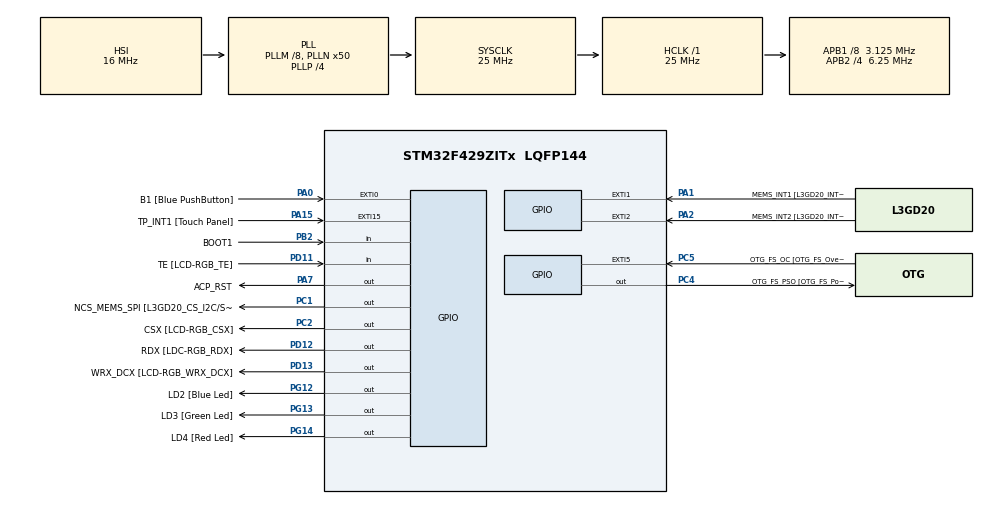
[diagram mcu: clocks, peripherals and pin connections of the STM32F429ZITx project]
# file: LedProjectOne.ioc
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Mcu.Family=STM32F4
Mcu.Name=STM32F429ZITx
Mcu.Package=LQFP144
NVIC.PriorityGroup=NVIC_PRIORITYGROUP_4
NVIC.TIM6_DAC_IRQn=true\:15\:0\:false\:false\:true\:false\:true\:true
NVIC.TimeBase=TIM6_DAC_IRQn
NVIC.TimeBaseIP=TIM6
PA0/WKUP.GPIO_Label=B1 [Blue PushButton]
PA0/WKUP.GPIO_ModeDefaultEXTI=GPIO_MODE_EVT_RISING
PA0/WKUP.GPIO_PuPd=GPIO_NOPULL
PA0/WKUP.Signal=GPXTI0
PA1.GPIO_Label=MEMS_INT1 [L3GD20_INT1]
PA1.GPIO_ModeDefaultEXTI=GPIO_MODE_EVT_RISING
PA1.GPIO_PuPd=GPIO_NOPULL
PA1.Signal=GPXTI1
PA10.GPIO_Label=STLINK_TX [STM32F103CBT6_PA2]
PA10.Signal=USART1_RX
PA11.GPIO_Label=R4
PA11.GPIO_Mode=GPIO_MODE_AF_PP
PA11.GPIO_PuPd=GPIO_NOPULL
PA11.GPIO_Speed=GPIO_SPEED_FREQ_LOW
PA11.Signal=LTDC_R4
PA12.GPIO_Label=R5
PA12.GPIO_Mode=GPIO_MODE_AF_PP
PA12.GPIO_PuPd=GPIO_NOPULL
PA12.GPIO_Speed=GPIO_SPEED_FREQ_LOW
PA12.Signal=LTDC_R5
PA13.GPIO_Label=SWDIO
PA13.Signal=SYS_JTMS-SWDIO
PA14.GPIO_Label=SWCLK
PA14.Signal=SYS_JTCK-SWCLK
PA15.GPIO_Label=TP_INT1 [Touch Panel]
PA15.GPIO_ModeDefaultEXTI=GPIO_MODE_EVT_RISING
PA15.GPIO_PuPd=GPIO_NOPULL
PA15.Signal=GPXTI15
PA2.GPIO_Label=MEMS_INT2 [L3GD20_INT2]
PA2.GPIO_ModeDefaultEXTI=GPIO_MODE_EVT_RISING
PA2.GPIO_PuPd=GPIO_NOPULL
PA2.Signal=GPXTI2
PA3.GPIO_Label=B5
PA3.GPIO_Mode=GPIO_MODE_AF_PP
PA3.GPIO_PuPd=GPIO_NOPULL
PA3.GPIO_Speed=GPIO_SPEED_FREQ_LOW
PA3.Signal=LTDC_B5
PA4.GPIO_Label=VSYNC
PA4.GPIO_Mode=GPIO_MODE_AF_PP
PA4.GPIO_PuPd=GPIO_NOPULL
PA4.GPIO_Speed=GPIO_SPEED_FREQ_LOW
PA4.Signal=LTDC_VSYNC
PA6.GPIO_Label=G2
PA6.GPIO_Mode=GPIO_MODE_AF_PP
PA6.GPIO_PuPd=GPIO_NOPULL
PA6.GPIO_Speed=GPIO_SPEED_FREQ_LOW
PA6.Signal=LTDC_G2
PA7.GPIO_Label=ACP_RST
PA7.GPIO_Mode=GPIO_MODE_OUTPUT_PP
PA7.GPIO_PuPd=GPIO_NOPULL
PA7.GPIO_Speed=GPIO_SPEED_FREQ_LOW
PA7.Signal=GPIO_Output
PA8.GPIO_Label=I2C3_SCL [ACP/RF_SCL]
PA8.GPIO_Mode=GPIO_MODE_AF_OD
PA8.GPIO_PuPd=GPIO_NOPULL
PA8.GPIO_Speed=GPIO_SPEED_FREQ_LOW
PA8.Signal=I2C3_SCL
PA9.GPIO_Label=STLINK_RX [STM32F103CBT6_PA3]
PA9.Signal=USART1_TX
PB0.GPIO_Label=R3
PB0.GPIO_Mode=GPIO_MODE_AF_PP
PB0.GPIO_PuPd=GPIO_NOPULL
PB0.GPIO_Speed=GPIO_SPEED_FREQ_LOW
PB0.Signal=LTDC_R3
PB1.GPIO_Label=R6
PB1.GPIO_Mode=GPIO_MODE_AF_PP
PB1.GPIO_PuPd=GPIO_NOPULL
PB1.GPIO_Speed=GPIO_SPEED_FREQ_LOW
PB1.Signal=LTDC_R6
PB10.GPIO_Label=G4
PB10.GPIO_Mode=GPIO_MODE_AF_PP
PB10.GPIO_PuPd=GPIO_NOPULL
PB10.GPIO_Speed=GPIO_SPEED_FREQ_LOW
PB10.Signal=LTDC_G4
PB11.GPIO_Label=G5
PB11.GPIO_Mode=GPIO_MODE_AF_PP
PB11.GPIO_PuPd=GPIO_NOPULL
PB11.GPIO_Speed=GPIO_SPEED_FREQ_LOW
PB11.Signal=LTDC_G5
PB12.GPIO_Label=OTG_HS_ID
PB12.GPIO_Mode=GPIO_MODE_AF_PP
PB12.GPIO_PuPd=GPIO_NOPULL
PB12.GPIO_Speed=GPIO_SPEED_FREQ_LOW
PB12.Signal=USB_OTG_HS_ID
PB13.GPIO_Label=VBUS_HS
PB13.GPIO_Mode=GPIO_MODE_INPUT
PB13.GPIO_PuPd=GPIO_NOPULL
PB13.Signal=USB_OTG_HS_VBUS
PB14.GPIO_Label=OTG_HS_DM
PB14.GPIO_Mode=GPIO_MODE_AF_PP
PB14.GPIO_PuPd=GPIO_NOPULL
PB14.GPIO_Speed=GPIO_SPEED_FREQ_LOW
PB14.Signal=USB_OTG_HS_DM
PB15.GPIO_Label=OTG_HS_DP
PB15.GPIO_Mode=GPIO_MODE_AF_PP
PB15.GPIO_PuPd=GPIO_NOPULL
PB15.GPIO_Speed=GPIO_SPEED_FREQ_LOW
PB15.Signal=USB_OTG_HS_DP
PB2/BOOT1.GPIO_Label=BOOT1
PB2/BOOT1.GPIO_Mode=GPIO_MODE_INPUT
PB2/BOOT1.GPIO_PuPd=GPIO_NOPULL
PB2/BOOT1.Signal=GPIO_Input
PB5.GPIO_Label=SDCKE1
PB5.GPIO_Mode=GPIO_MODE_AF_PP
PB5.GPIO_PuPd=GPIO_NOPULL
PB5.GPIO_Speed=GPIO_SPEED_FREQ_VERY_HIGH
PB5.Signal=FMC_SDCKE1
PB6.GPIO_Label=SDNE1 [SDRAM_CS]
PB6.GPIO_Mode=GPIO_MODE_AF_PP
PB6.GPIO_PuPd=GPIO_NOPULL
PB6.GPIO_Speed=GPIO_SPEED_FREQ_VERY_HIGH
PB6.Signal=FMC_SDNE1
PB8.GPIO_Label=B6
PB8.GPIO_Mode=GPIO_MODE_AF_PP
PB8.GPIO_PuPd=GPIO_NOPULL
PB8.GPIO_Speed=GPIO_SPEED_FREQ_LOW
PB8.Signal=LTDC_B6
PB9.GPIO_Label=B7
PB9.GPIO_Mode=GPIO_MODE_AF_PP
PB9.GPIO_PuPd=GPIO_NOPULL
PB9.GPIO_Speed=GPIO_SPEED_FREQ_LOW
PB9.Signal=LTDC_B7
PC0.GPIO_Label=SDNWE
PC0.GPIO_Mode=GPIO_MODE_AF_PP
PC0.GPIO_PuPd=GPIO_NOPULL
PC0.GPIO_Speed=GPIO_SPEED_FREQ_VERY_HIGH
PC0.Signal=FMC_SDNWE
PC1.GPIO_Label=NCS_MEMS_SPI [L3GD20_CS_I2C/SPI]
PC1.GPIO_Mode=GPIO_MODE_OUTPUT_PP
PC1.GPIO_PuPd=GPIO_NOPULL
PC1.GPIO_Speed=GPIO_SPEED_FREQ_LOW
PC1.Signal=GPIO_Output
PC10.GPIO_Label=R2
PC10.GPIO_Mode=GPIO_MODE_AF_PP
PC10.GPIO_PuPd=GPIO_NOPULL
PC10.GPIO_Speed=GPIO_SPEED_FREQ_LOW
PC10.Signal=LTDC_R2
PC14/OSC32_IN.GPIO_Label=PC14-OSC32_IN
PC14/OSC32_IN.Signal=RCC_OSC32_IN
PC15/OSC32_OUT.GPIO_Label=PC15-OSC32_OUT
PC15/OSC32_OUT.Signal=RCC_OSC32_OUT
PC2.GPIO_Label=CSX [LCD-RGB_CSX]
PC2.GPIO_Mode=GPIO_MODE_OUTPUT_PP
PC2.GPIO_PuPd=GPIO_NOPULL
PC2.GPIO_Speed=GPIO_SPEED_FREQ_LOW
PC2.Signal=GPIO_Output
PC4.GPIO_Label=OTG_FS_PSO [OTG_FS_PowerSwitchOn]
PC4.GPIO_Mode=GPIO_MODE_OUTPUT_PP
PC4.GPIO_PuPd=GPIO_NOPULL
PC4.GPIO_Speed=GPIO_SPEED_FREQ_LOW
PC4.Signal=GPIO_Output
PC5.GPIO_Label=OTG_FS_OC [OTG_FS_OverCurrent]
PC5.GPIO_ModeDefaultEXTI=GPIO_MODE_EVT_RISING
PC5.Signal=GPXTI5
PC6.GPIO_Label=HSYNC
PC6.GPIO_Mode=GPIO_MODE_AF_PP
PC6.GPIO_PuPd=GPIO_NOPULL
PC6.GPIO_Speed=GPIO_SPEED_FREQ_LOW
PC6.Signal=LTDC_HSYNC
PC7.GPIO_Label=G6
PC7.GPIO_Mode=GPIO_MODE_AF_PP
PC7.GPIO_PuPd=GPIO_NOPULL
PC7.GPIO_Speed=GPIO_SPEED_FREQ_LOW
PC7.Signal=LTDC_G6
PC9.GPIO_Label=I2C3_SDA [ACP/RF_SDA]
PC9.GPIO_Mode=GPIO_MODE_AF_OD
PC9.GPIO_PuPd=GPIO_NOPULL
PC9.GPIO_Speed=GPIO_SPEED_FREQ_LOW
PC9.Signal=I2C3_SDA
PD0.GPIO_Label=D2
PD0.GPIO_Mode=GPIO_MODE_AF_PP
PD0.GPIO_PuPd=GPIO_NOPULL
PD0.GPIO_Speed=GPIO_SPEED_FREQ_VERY_HIGH
PD0.Signal=FMC_D2_DA2
PD1.GPIO_Label=D3
PD1.GPIO_Mode=GPIO_MODE_AF_PP
PD1.GPIO_PuPd=GPIO_NOPULL
PD1.GPIO_Speed=GPIO_SPEED_FREQ_VERY_HIGH
PD1.Signal=FMC_D3_DA3
PD10.GPIO_Label=D15
PD10.GPIO_Mode=GPIO_MODE_AF_PP
PD10.GPIO_PuPd=GPIO_NOPULL
PD10.GPIO_Speed=GPIO_SPEED_FREQ_VERY_HIGH
PD10.Signal=FMC_D15_DA15
PD11.GPIO_Label=TE [LCD-RGB_TE]
PD11.GPIO_Mode=GPIO_MODE_INPUT
PD11.GPIO_PuPd=GPIO_NOPULL
PD11.Signal=GPIO_Input
PD12.GPIO_Label=RDX [LDC-RGB_RDX]
PD12.GPIO_Mode=GPIO_MODE_OUTPUT_PP
PD12.GPIO_PuPd=GPIO_NOPULL
PD12.GPIO_Speed=GPIO_SPEED_FREQ_LOW
PD12.Signal=GPIO_Output
PD13.GPIO_Label=WRX_DCX [LCD-RGB_WRX_DCX]
PD13.GPIO_Mode=GPIO_MODE_OUTPUT_PP
PD13.GPIO_PuPd=GPIO_NOPULL
PD13.GPIO_Speed=GPIO_SPEED_FREQ_LOW
PD13.Signal=GPIO_Output
PD14.GPIO_Label=D0
PD14.GPIO_Mode=GPIO_MODE_AF_PP
PD14.GPIO_PuPd=GPIO_NOPULL
PD14.GPIO_Speed=GPIO_SPEED_FREQ_VERY_HIGH
PD14.Signal=FMC_D0_DA0
PD15.GPIO_Label=D1
PD15.GPIO_Mode=GPIO_MODE_AF_PP
PD15.GPIO_PuPd=GPIO_NOPULL
PD15.GPIO_Speed=GPIO_SPEED_FREQ_VERY_HIGH
PD15.Signal=FMC_D1_DA1
PD3.GPIO_Label=G7
PD3.GPIO_Mode=GPIO_MODE_AF_PP
PD3.GPIO_PuPd=GPIO_NOPULL
PD3.GPIO_Speed=GPIO_SPEED_FREQ_LOW
PD3.Signal=LTDC_G7
PD6.GPIO_Label=B2
PD6.GPIO_Mode=GPIO_MODE_AF_PP
PD6.GPIO_PuPd=GPIO_NOPULL
PD6.GPIO_Speed=GPIO_SPEED_FREQ_LOW
PD6.Signal=LTDC_B2
PD8.GPIO_Label=D13
PD8.GPIO_Mode=GPIO_MODE_AF_PP
PD8.GPIO_PuPd=GPIO_NOPULL
PD8.GPIO_Speed=GPIO_SPEED_FREQ_VERY_HIGH
PD8.Signal=FMC_D13_DA13
PD9.GPIO_Label=D14
PD9.GPIO_Mode=GPIO_MODE_AF_PP
PD9.GPIO_PuPd=GPIO_NOPULL
PD9.GPIO_Speed=GPIO_SPEED_FREQ_VERY_HIGH
PD9.Signal=FMC_D14_DA14
PE0.GPIO_Label=NBL0 [SDRAM_LDQM]
PE0.GPIO_Mode=GPIO_MODE_AF_PP
PE0.GPIO_PuPd=GPIO_NOPULL
PE0.GPIO_Speed=GPIO_SPEED_FREQ_VERY_HIGH
PE0.Signal=FMC_NBL0
PE1.GPIO_Label=NBL1 [SDRAM_UDQM]
PE1.GPIO_Mode=GPIO_MODE_AF_PP
PE1.GPIO_PuPd=GPIO_NOPULL
PE1.GPIO_Speed=GPIO_SPEED_FREQ_VERY_HIGH
PE1.Signal=FMC_NBL1
PE10.GPIO_Label=D7
PE10.GPIO_Mode=GPIO_MODE_AF_PP
PE10.GPIO_PuPd=GPIO_NOPULL
PE10.GPIO_Speed=GPIO_SPEED_FREQ_VERY_HIGH
PE10.Signal=FMC_D7_DA7
PE11.GPIO_Label=D8
PE11.GPIO_Mode=GPIO_MODE_AF_PP
PE11.GPIO_PuPd=GPIO_NOPULL
PE11.GPIO_Speed=GPIO_SPEED_FREQ_VERY_HIGH
PE11.Signal=FMC_D8_DA8
PE12.GPIO_Label=D9
PE12.GPIO_Mode=GPIO_MODE_AF_PP
PE12.GPIO_PuPd=GPIO_NOPULL
PE12.GPIO_Speed=GPIO_SPEED_FREQ_VERY_HIGH
PE12.Signal=FMC_D9_DA9
PE13.GPIO_Label=D10
PE13.GPIO_Mode=GPIO_MODE_AF_PP
PE13.GPIO_PuPd=GPIO_NOPULL
PE13.GPIO_Speed=GPIO_SPEED_FREQ_VERY_HIGH
PE13.Signal=FMC_D10_DA10
PE14.GPIO_Label=D11
PE14.GPIO_Mode=GPIO_MODE_AF_PP
PE14.GPIO_PuPd=GPIO_NOPULL
PE14.GPIO_Speed=GPIO_SPEED_FREQ_VERY_HIGH
PE14.Signal=FMC_D11_DA11
PE15.GPIO_Label=D12
PE15.GPIO_Mode=GPIO_MODE_AF_PP
PE15.GPIO_PuPd=GPIO_NOPULL
PE15.GPIO_Speed=GPIO_SPEED_FREQ_VERY_HIGH
PE15.Signal=FMC_D12_DA12
PE7.GPIO_Label=D4
PE7.GPIO_Mode=GPIO_MODE_AF_PP
PE7.GPIO_PuPd=GPIO_NOPULL
PE7.GPIO_Speed=GPIO_SPEED_FREQ_VERY_HIGH
PE7.Signal=FMC_D4_DA4
PE8.GPIO_Label=D5
PE8.GPIO_Mode=GPIO_MODE_AF_PP
PE8.GPIO_PuPd=GPIO_NOPULL
PE8.GPIO_Speed=GPIO_SPEED_FREQ_VERY_HIGH
PE8.Signal=FMC_D5_DA5
PE9.GPIO_Label=D6
PE9.GPIO_Mode=GPIO_MODE_AF_PP
PE9.GPIO_PuPd=GPIO_NOPULL
PE9.GPIO_Speed=GPIO_SPEED_FREQ_VERY_HIGH
PE9.Signal=FMC_D6_DA6
PF0.GPIO_Label=A0
PF0.GPIO_Mode=GPIO_MODE_AF_PP
PF0.GPIO_PuPd=GPIO_NOPULL
PF0.GPIO_Speed=GPIO_SPEED_FREQ_VERY_HIGH
PF0.Signal=FMC_A0
PF1.GPIO_Label=A1
PF1.GPIO_Mode=GPIO_MODE_AF_PP
PF1.GPIO_PuPd=GPIO_NOPULL
PF1.GPIO_Speed=GPIO_SPEED_FREQ_VERY_HIGH
PF1.Signal=FMC_A1
PF10.GPIO_Label=ENABLE [LCD-RGB_ENABLE]
PF10.GPIO_Mode=GPIO_MODE_AF_PP
PF10.GPIO_PuPd=GPIO_NOPULL
PF10.GPIO_Speed=GPIO_SPEED_FREQ_LOW
PF10.Signal=LTDC_DE
PF11.GPIO_Label=SDNRAS
PF11.GPIO_Mode=GPIO_MODE_AF_PP
PF11.GPIO_PuPd=GPIO_NOPULL
PF11.GPIO_Speed=GPIO_SPEED_FREQ_VERY_HIGH
PF11.Signal=FMC_SDNRAS
PF12.GPIO_Label=A6
PF12.GPIO_Mode=GPIO_MODE_AF_PP
PF12.GPIO_PuPd=GPIO_NOPULL
PF12.GPIO_Speed=GPIO_SPEED_FREQ_VERY_HIGH
PF12.Signal=FMC_A6
PF13.GPIO_Label=A7
PF13.GPIO_Mode=GPIO_MODE_AF_PP
PF13.GPIO_PuPd=GPIO_NOPULL
PF13.GPIO_Speed=GPIO_SPEED_FREQ_VERY_HIGH
PF13.Signal=FMC_A7
PF14.GPIO_Label=A8
PF14.GPIO_Mode=GPIO_MODE_AF_PP
PF14.GPIO_PuPd=GPIO_NOPULL
PF14.GPIO_Speed=GPIO_SPEED_FREQ_VERY_HIGH
PF14.Signal=FMC_A8
PF15.GPIO_Label=A9
PF15.GPIO_Mode=GPIO_MODE_AF_PP
PF15.GPIO_PuPd=GPIO_NOPULL
PF15.GPIO_Speed=GPIO_SPEED_FREQ_VERY_HIGH
PF15.Signal=FMC_A9
PF2.GPIO_Label=A2
PF2.GPIO_Mode=GPIO_MODE_AF_PP
PF2.GPIO_PuPd=GPIO_NOPULL
PF2.GPIO_Speed=GPIO_SPEED_FREQ_VERY_HIGH
PF2.Signal=FMC_A2
PF3.GPIO_Label=A3
PF3.GPIO_Mode=GPIO_MODE_AF_PP
PF3.GPIO_PuPd=GPIO_NOPULL
PF3.GPIO_Speed=GPIO_SPEED_FREQ_VERY_HIGH
PF3.Signal=FMC_A3
PF4.GPIO_Label=A4
PF4.GPIO_Mode=GPIO_MODE_AF_PP
PF4.GPIO_PuPd=GPIO_NOPULL
PF4.GPIO_Speed=GPIO_SPEED_FREQ_VERY_HIGH
PF4.Signal=FMC_A4
PF5.GPIO_Label=A5
PF5.GPIO_Mode=GPIO_MODE_AF_PP
PF5.GPIO_PuPd=GPIO_NOPULL
PF5.GPIO_Speed=GPIO_SPEED_FREQ_VERY_HIGH
PF5.Signal=FMC_A5
PF7.GPIO_Label=SPI5_SCK [L3GD20_SCL/SPC]
PF7.GPIO_Mode=GPIO_MODE_AF_PP
PF7.GPIO_PuPd=GPIO_NOPULL
PF7.GPIO_Speed=GPIO_SPEED_FREQ_LOW
PF7.Signal=SPI5_SCK
PF8.GPIO_Label=SPI5_MISO [L3GD20_SDO]
PF8.GPIO_Mode=GPIO_MODE_AF_PP
PF8.GPIO_PuPd=GPIO_NOPULL
PF8.GPIO_Speed=GPIO_SPEED_FREQ_LOW
PF8.Signal=SPI5_MISO
PF9.GPIO_Label=SPI5_MOSI [L3GD20_SDA/SDI/SDO]
PF9.GPIO_Mode=GPIO_MODE_AF_PP
PF9.GPIO_PuPd=GPIO_NOPULL
PF9.GPIO_Speed=GPIO_SPEED_FREQ_LOW
PF9.Signal=SPI5_MOSI
PG0.GPIO_Label=A10
PG0.GPIO_Mode=GPIO_MODE_AF_PP
PG0.GPIO_PuPd=GPIO_NOPULL
PG0.GPIO_Speed=GPIO_SPEED_FREQ_VERY_HIGH
PG0.Signal=FMC_A10
PG1.GPIO_Label=A11
PG1.GPIO_Mode=GPIO_MODE_AF_PP
PG1.GPIO_PuPd=GPIO_NOPULL
PG1.GPIO_Speed=GPIO_SPEED_FREQ_VERY_HIGH
PG1.Signal=FMC_A11
PG10.GPIO_Label=G3
PG10.GPIO_Mode=GPIO_MODE_AF_PP
PG10.GPIO_PuPd=GPIO_NOPULL
PG10.GPIO_Speed=GPIO_SPEED_FREQ_LOW
PG10.Signal=LTDC_G3
PG11.GPIO_Label=B3
PG11.GPIO_Mode=GPIO_MODE_AF_PP
PG11.GPIO_PuPd=GPIO_NOPULL
PG11.GPIO_Speed=GPIO_SPEED_FREQ_LOW
PG11.Signal=LTDC_B3
PG12.GPIO_Label=LD2 [Blue Led]
PG12.Signal=GPIO_Output
PG13.GPIO_Label=LD3 [Green Led]
PG13.GPIO_Mode=GPIO_MODE_OUTPUT_PP
PG13.GPIO_PuPd=GPIO_NOPULL
PG13.GPIO_Speed=GPIO_SPEED_FREQ_LOW
PG13.Signal=GPIO_Output
PG14.GPIO_Label=LD4 [Red Led]
PG14.GPIO_Mode=GPIO_MODE_OUTPUT_PP
PG14.GPIO_PuPd=GPIO_NOPULL
PG14.GPIO_Speed=GPIO_SPEED_FREQ_LOW
PG14.Signal=GPIO_Output
PG15.GPIO_Label=SDNCAS
PG15.GPIO_Mode=GPIO_MODE_AF_PP
PG15.GPIO_PuPd=GPIO_NOPULL
PG15.GPIO_Speed=GPIO_SPEED_FREQ_VERY_HIGH
PG15.Signal=FMC_SDNCAS
PG4.GPIO_Label=BA0
PG4.GPIO_Mode=GPIO_MODE_AF_PP
PG4.GPIO_PuPd=GPIO_NOPULL
PG4.GPIO_Speed=GPIO_SPEED_FREQ_VERY_HIGH
PG4.Signal=FMC_A14_BA0
PG5.GPIO_Label=BA1
PG5.GPIO_Mode=GPIO_MODE_AF_PP
PG5.GPIO_PuPd=GPIO_NOPULL
PG5.GPIO_Speed=GPIO_SPEED_FREQ_VERY_HIGH
PG5.Signal=FMC_A15_BA1
PG6.GPIO_Label=R7
PG6.GPIO_Mode=GPIO_MODE_AF_PP
PG6.GPIO_PuPd=GPIO_NOPULL
PG6.GPIO_Speed=GPIO_SPEED_FREQ_LOW
PG6.Signal=LTDC_R7
PG7.GPIO_Label=DOTCLK [LCT-RGB_DOTCLK]
PG7.GPIO_Mode=GPIO_MODE_AF_PP
PG7.GPIO_PuPd=GPIO_NOPULL
PG7.GPIO_Speed=GPIO_SPEED_FREQ_LOW
PG7.Signal=LTDC_CLK
PG8.GPIO_Label=SDCLK
PG8.GPIO_Mode=GPIO_MODE_AF_PP
PG8.GPIO_PuPd=GPIO_NOPULL
PG8.GPIO_Speed=GPIO_SPEED_FREQ_VERY_HIGH
PG8.Signal=FMC_SDCLK
PH0/OSC_IN.GPIO_Label=PH0-OSC_IN
PH0/OSC_IN.Signal=RCC_OSC_IN
PH1/OSC_OUT.GPIO_Label=PH1-OSC_OUT
PH1/OSC_OUT.Signal=RCC_OSC_OUT
ProjectManager.HeapSize=0x200
ProjectManager.StackSize=0x400
ProjectManager.TargetToolchain=STM32CubeIDE
RCC.48MHZClocksFreq_Value=14285714.285714285
RCC.AHBFreq_Value=25000000
RCC.APB1CLKDivider=RCC_HCLK_DIV8
RCC.APB1Freq_Value=3125000
RCC.APB1TimFreq_Value=6250000
RCC.APB2CLKDivider=RCC_HCLK_DIV4
RCC.APB2Freq_Value=6250000
RCC.APB2TimFreq_Value=12500000
RCC.CortexFreq_Value=25000000
RCC.HCLKFreq_Value=25000000
RCC.HSE_VALUE=8000000
RCC.HSI_VALUE=16000000
RCC.LSE_VALUE=32768
RCC.PLLM=8
RCC.PLLN=50
RCC.PLLP=RCC_PLLP_DIV4
RCC.PLLQ=7
RCC.SYSCLKFreq_VALUE=25000000
RCC.SYSCLKSource=RCC_SYSCLKSOURCE_PLLCLK
RCC.VCOOutputFreq_Value=100000000
SH.FMC_A0.0=FMC_A0
SH.FMC_A1.0=FMC_A1
SH.FMC_A10.0=FMC_A10
SH.FMC_A11.0=FMC_A11
SH.FMC_A14_BA0.0=FMC_BA0
SH.FMC_A15_BA1.0=FMC_BA1
SH.FMC_A2.0=FMC_A2
SH.FMC_A3.0=FMC_A3
SH.FMC_A4.0=FMC_A4
SH.FMC_A5.0=FMC_A5
SH.FMC_A6.0=FMC_A6
SH.FMC_A7.0=FMC_A7
SH.FMC_A8.0=FMC_A8
SH.FMC_A9.0=FMC_A9
SH.FMC_D0_DA0.0=FMC_D0
SH.FMC_D10_DA10.0=FMC_D10
SH.FMC_D11_DA11.0=FMC_D11
SH.FMC_D12_DA12.0=FMC_D12
SH.FMC_D13_DA13.0=FMC_D13
SH.FMC_D14_DA14.0=FMC_D14
SH.FMC_D15_DA15.0=FMC_D15
SH.FMC_D1_DA1.0=FMC_D1
SH.FMC_D2_DA2.0=FMC_D2
SH.FMC_D3_DA3.0=FMC_D3
SH.FMC_D4_DA4.0=FMC_D4
SH.FMC_D5_DA5.0=FMC_D5
SH.FMC_D6_DA6.0=FMC_D6
SH.FMC_D7_DA7.0=FMC_D7
SH.FMC_D8_DA8.0=FMC_D8
SH.FMC_D9_DA9.0=FMC_D9
SH.FMC_NBL0.0=FMC_NBL0
SH.FMC_NBL1.0=FMC_NBL1
SH.FMC_SDCLK.0=FMC_SDCLK
SH.FMC_SDNCAS.0=FMC_SDNCAS
SH.FMC_SDNRAS.0=FMC_SDNRAS
SH.FMC_SDNWE.0=FMC_SDNWE
VP_SYS_VS_tim6.Mode=TIM6
board=STM32F429I-DISC1

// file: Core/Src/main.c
/* USER CODE BEGIN Header */
/**
  ******************************************************************************
  * @file           : main.c
  * @brief          : Main program body
  ******************************************************************************
  * @attention
  *
  * Copyright (c) 2023 STMicroelectronics.
  * All rights reserved.
  *
  * This software is licensed under terms that can be found in the LICENSE file
  * in the root directory of this software component.
  * If no LICENSE file comes with this software, it is provided AS-IS.
  *
  ******************************************************************************
  */
/* USER CODE END Header */
#include "main.h"

/* USER CODE BEGIN PV */

/**
 * 	function prototypes
 */
void Task1(void *argument);
void Task2(void *argument);
void Task3(void *argument);
void lookBusy( void );

/* USER CODE END PV */

void SystemClock_Config(void);
static void MX_GPIO_Init(void);

int main(void)
{

  /* MCU Configuration--------------------------------------------------------*/

  /* Reset of all peripherals, Initializes the Flash interface and the Systick. */
  HAL_Init();

  /* Configure the system clock */
  SystemClock_Config();

  /* Initialize all configured peripherals */
  MX_GPIO_Init();
  /* USER CODE BEGIN 2 */

  // some common variables to use for each task
  // 128 * 4 = 512 bytes
  //(recommended min stack size per task)
  const static uint32_t stackSize = 128;

  SEGGER_SYSVIEW_Conf();
  //HAL_NVIC_SetPriorityGrouping(NVIC_PRIORITYGROUP_4);	//ensure proper priority grouping for freeRTOS

  if (xTaskCreate(Task1, "task1", stackSize, NULL, tskIDLE_PRIORITY + 2, NULL) == pdPASS)
  {
	  if (xTaskCreate(Task2, "task2", stackSize, NULL, tskIDLE_PRIORITY + 1, NULL) == pdPASS)
	  {
		  if (xTaskCreate(Task3, "task3", stackSize, NULL, tskIDLE_PRIORITY + 1, NULL) == pdPASS)
		  {
			  //start the scheduler - shouldn't return unless there's a problem
			  vTaskStartScheduler();
		  }
	  }
  }

  /* USER CODE END 2 */

  /* Infinite loop */
  while (1)
  {

  }
}

void SystemClock_Config(void)
{
  RCC_OscInitTypeDef RCC_OscInitStruct = {0};
  RCC_ClkInitTypeDef RCC_ClkInitStruct = {0};

  /** Configure the main internal regulator output voltage
  */
  __HAL_RCC_PWR_CLK_ENABLE();
  __HAL_PWR_VOLTAGESCALING_CONFIG(PWR_REGULATOR_VOLTAGE_SCALE3);

  /** Initializes the RCC Oscillators according to the specified parameters
  * in the RCC_OscInitTypeDef structure.
  */
  RCC_OscInitStruct.OscillatorType = RCC_OSCILLATORTYPE_HSI;
  RCC_OscInitStruct.HSIState = RCC_HSI_ON;
  RCC_OscInitStruct.HSICalibrationValue = RCC_HSICALIBRATION_DEFAULT;
  RCC_OscInitStruct.PLL.PLLState = RCC_PLL_ON;
  RCC_OscInitStruct.PLL.PLLSource = RCC_PLLSOURCE_HSI;
  RCC_OscInitStruct.PLL.PLLM = 8;
  RCC_OscInitStruct.PLL.PLLN = 50;
  RCC_OscInitStruct.PLL.PLLP = RCC_PLLP_DIV4;
  RCC_OscInitStruct.PLL.PLLQ = 7;
  if (HAL_RCC_OscConfig(&RCC_OscInitStruct) != HAL_OK)
  {
    Error_Handler();
  }

  /** Initializes the CPU, AHB and APB buses clocks
  */
  RCC_ClkInitStruct.ClockType = RCC_CLOCKTYPE_HCLK|RCC_CLOCKTYPE_SYSCLK
                              |RCC_CLOCKTYPE_PCLK1|RCC_CLOCKTYPE_PCLK2;
  RCC_ClkInitStruct.SYSCLKSource = RCC_SYSCLKSOURCE_PLLCLK;
  RCC_ClkInitStruct.AHBCLKDivider = RCC_SYSCLK_DIV1;
  RCC_ClkInitStruct.APB1CLKDivider = RCC_HCLK_DIV8;
  RCC_ClkInitStruct.APB2CLKDivider = RCC_HCLK_DIV4;

  if (HAL_RCC_ClockConfig(&RCC_ClkInitStruct, FLASH_LATENCY_0) != HAL_OK)
  {
    Error_Handler();
  }
}

static void MX_GPIO_Init(void)
{
  GPIO_InitTypeDef GPIO_InitStruct = {0};

  /* GPIO Ports Clock Enable */
  __HAL_RCC_GPIOC_CLK_ENABLE();
  __HAL_RCC_GPIOF_CLK_ENABLE();
  __HAL_RCC_GPIOH_CLK_ENABLE();
  __HAL_RCC_GPIOA_CLK_ENABLE();
  __HAL_RCC_GPIOB_CLK_ENABLE();
  __HAL_RCC_GPIOG_CLK_ENABLE();
  __HAL_RCC_GPIOE_CLK_ENABLE();
  __HAL_RCC_GPIOD_CLK_ENABLE();

  /*Configure GPIO pin Output Level */
  HAL_GPIO_WritePin(GPIOC, NCS_MEMS_SPI_Pin|CSX_Pin|OTG_FS_PSO_Pin, GPIO_PIN_RESET);

  /*Configure GPIO pin Output Level */
  HAL_GPIO_WritePin(ACP_RST_GPIO_Port, ACP_RST_Pin, GPIO_PIN_RESET);

  /*Configure GPIO pin Output Level */
  HAL_GPIO_WritePin(GPIOD, RDX_Pin|WRX_DCX_Pin, GPIO_PIN_RESET);

  /*Configure GPIO pin Output Level */
  HAL_GPIO_WritePin(GPIOG, LD2_Pin|LD3_Pin|LD4_Pin, GPIO_PIN_RESET);

  /*Configure GPIO pins : A0_Pin A1_Pin A2_Pin A3_Pin
                           A4_Pin A5_Pin SDNRAS_Pin A6_Pin
                           A7_Pin A8_Pin A9_Pin */
  GPIO_InitStruct.Pin = A0_Pin|A1_Pin|A2_Pin|A3_Pin
                          |A4_Pin|A5_Pin|SDNRAS_Pin|A6_Pin
                          |A7_Pin|A8_Pin|A9_Pin;
  GPIO_InitStruct.Mode = GPIO_MODE_AF_PP;
  GPIO_InitStruct.Pull = GPIO_NOPULL;
  GPIO_InitStruct.Speed = GPIO_SPEED_FREQ_VERY_HIGH;
  GPIO_InitStruct.Alternate = GPIO_AF12_FMC;
  HAL_GPIO_Init(GPIOF, &GPIO_InitStruct);

  /*Configure GPIO pins : SPI5_SCK_Pin SPI5_MISO_Pin SPI5_MOSI_Pin */
  GPIO_InitStruct.Pin = SPI5_SCK_Pin|SPI5_MISO_Pin|SPI5_MOSI_Pin;
  GPIO_InitStruct.Mode = GPIO_MODE_AF_PP;
  GPIO_InitStruct.Pull = GPIO_NOPULL;
  GPIO_InitStruct.Speed = GPIO_SPEED_FREQ_LOW;
  GPIO_InitStruct.Alternate = GPIO_AF5_SPI5;
  HAL_GPIO_Init(GPIOF, &GPIO_InitStruct);

  /*Configure GPIO pin : ENABLE_Pin */
  GPIO_InitStruct.Pin = ENABLE_Pin;
  GPIO_InitStruct.Mode = GPIO_MODE_AF_PP;
  GPIO_InitStruct.Pull = GPIO_NOPULL;
  GPIO_InitStruct.Speed = GPIO_SPEED_FREQ_LOW;
  GPIO_InitStruct.Alternate = GPIO_AF14_LTDC;
  HAL_GPIO_Init(ENABLE_GPIO_Port, &GPIO_InitStruct);

  /*Configure GPIO pin : SDNWE_Pin */
  GPIO_InitStruct.Pin = SDNWE_Pin;
  GPIO_InitStruct.Mode = GPIO_MODE_AF_PP;
  GPIO_InitStruct.Pull = GPIO_NOPULL;
  GPIO_InitStruct.Speed = GPIO_SPEED_FREQ_VERY_HIGH;
  GPIO_InitStruct.Alternate = GPIO_AF12_FMC;
  HAL_GPIO_Init(SDNWE_GPIO_Port, &GPIO_InitStruct);

  /*Configure GPIO pins : NCS_MEMS_SPI_Pin CSX_Pin OTG_FS_PSO_Pin */
  GPIO_InitStruct.Pin = NCS_MEMS_SPI_Pin|CSX_Pin|OTG_FS_PSO_Pin;
  GPIO_InitStruct.Mode = GPIO_MODE_OUTPUT_PP;
  GPIO_InitStruct.Pull = GPIO_NOPULL;
  GPIO_InitStruct.Speed = GPIO_SPEED_FREQ_LOW;
  HAL_GPIO_Init(GPIOC, &GPIO_InitStruct);

  /*Configure GPIO pins : B1_Pin MEMS_INT1_Pin MEMS_INT2_Pin TP_INT1_Pin */
  GPIO_InitStruct.Pin = B1_Pin|MEMS_INT1_Pin|MEMS_INT2_Pin|TP_INT1_Pin;
  GPIO_InitStruct.Mode = GPIO_MODE_EVT_RISING;
  GPIO_InitStruct.Pull = GPIO_NOPULL;
  HAL_GPIO_Init(GPIOA, &GPIO_InitStruct);

  /*Configure GPIO pins : B5_Pin VSYNC_Pin G2_Pin R4_Pin
                           R5_Pin */
  GPIO_InitStruct.Pin = B5_Pin|VSYNC_Pin|G2_Pin|R4_Pin
                          |R5_Pin;
  GPIO_InitStruct.Mode = GPIO_MODE_AF_PP;
  GPIO_InitStruct.Pull = GPIO_NOPULL;
  GPIO_InitStruct.Speed = GPIO_SPEED_FREQ_LOW;
  GPIO_InitStruct.Alternate = GPIO_AF14_LTDC;
  HAL_GPIO_Init(GPIOA, &GPIO_InitStruct);

  /*Configure GPIO pin : ACP_RST_Pin */
  GPIO_InitStruct.Pin = ACP_RST_Pin;
  GPIO_InitStruct.Mode = GPIO_MODE_OUTPUT_PP;
  GPIO_InitStruct.Pull = GPIO_NOPULL;
  GPIO_InitStruct.Speed = GPIO_SPEED_FREQ_LOW;
  HAL_GPIO_Init(ACP_RST_GPIO_Port, &GPIO_InitStruct);

  /*Configure GPIO pin : OTG_FS_OC_Pin */
  GPIO_InitStruct.Pin = OTG_FS_OC_Pin;
  GPIO_InitStruct.Mode = GPIO_MODE_EVT_RISING;
  GPIO_InitStruct.Pull = GPIO_NOPULL;
  HAL_GPIO_Init(OTG_FS_OC_GPIO_Port, &GPIO_InitStruct);

  /*Configure GPIO pins : R3_Pin R6_Pin */
  GPIO_InitStruct.Pin = R3_Pin|R6_Pin;
  GPIO_InitStruct.Mode = GPIO_MODE_AF_PP;
  GPIO_InitStruct.Pull = GPIO_NOPULL;
  GPIO_InitStruct.Speed = GPIO_SPEED_FREQ_LOW;
  GPIO_InitStruct.Alternate = GPIO_AF9_LTDC;
  HAL_GPIO_Init(GPIOB, &GPIO_InitStruct);

  /*Configure GPIO pin : BOOT1_Pin */
  GPIO_InitStruct.Pin = BOOT1_Pin;
  GPIO_InitStruct.Mode = GPIO_MODE_INPUT;
  GPIO_InitStruct.Pull = GPIO_NOPULL;
  HAL_GPIO_Init(BOOT1_GPIO_Port, &GPIO_InitStruct);

  /*Configure GPIO pins : A10_Pin A11_Pin BA0_Pin BA1_Pin
                           SDCLK_Pin SDNCAS_Pin */
  GPIO_InitStruct.Pin = A10_Pin|A11_Pin|BA0_Pin|BA1_Pin
                          |SDCLK_Pin|SDNCAS_Pin;
  GPIO_InitStruct.Mode = GPIO_MODE_AF_PP;
  GPIO_InitStruct.Pull = GPIO_NOPULL;
  GPIO_InitStruct.Speed = GPIO_SPEED_FREQ_VERY_HIGH;
  GPIO_InitStruct.Alternate = GPIO_AF12_FMC;
  HAL_GPIO_Init(GPIOG, &GPIO_InitStruct);

  /*Configure GPIO pins : D4_Pin D5_Pin D6_Pin D7_Pin
                           D8_Pin D9_Pin D10_Pin D11_Pin
                           D12_Pin NBL0_Pin NBL1_Pin */
  GPIO_InitStruct.Pin = D4_Pin|D5_Pin|D6_Pin|D7_Pin
                          |D8_Pin|D9_Pin|D10_Pin|D11_Pin
                          |D12_Pin|NBL0_Pin|NBL1_Pin;
  GPIO_InitStruct.Mode = GPIO_MODE_AF_PP;
  GPIO_InitStruct.Pull = GPIO_NOPULL;
  GPIO_InitStruct.Speed = GPIO_SPEED_FREQ_VERY_HIGH;
  GPIO_InitStruct.Alternate = GPIO_AF12_FMC;
  HAL_GPIO_Init(GPIOE, &GPIO_InitStruct);

  /*Configure GPIO pins : G4_Pin G5_Pin B6_Pin B7_Pin */
  GPIO_InitStruct.Pin = G4_Pin|G5_Pin|B6_Pin|B7_Pin;
  GPIO_InitStruct.Mode = GPIO_MODE_AF_PP;
  GPIO_InitStruct.Pull = GPIO_NOPULL;
  GPIO_InitStruct.Speed = GPIO_SPEED_FREQ_LOW;
  GPIO_InitStruct.Alternate = GPIO_AF14_LTDC;
  HAL_GPIO_Init(GPIOB, &GPIO_InitStruct);

  /*Configure GPIO pins : OTG_HS_ID_Pin OTG_HS_DM_Pin OTG_HS_DP_Pin */
  GPIO_InitStruct.Pin = OTG_HS_ID_Pin|OTG_HS_DM_Pin|OTG_HS_DP_Pin;
  GPIO_InitStruct.Mode = GPIO_MODE_AF_PP;
  GPIO_InitStruct.Pull = GPIO_NOPULL;
  GPIO_InitStruct.Speed = GPIO_SPEED_FREQ_LOW;
  GPIO_InitStruct.Alternate = GPIO_AF12_OTG_HS_FS;
  HAL_GPIO_Init(GPIOB, &GPIO_InitStruct);

  /*Configure GPIO pin : VBUS_HS_Pin */
  GPIO_InitStruct.Pin = VBUS_HS_Pin;
  GPIO_InitStruct.Mode = GPIO_MODE_INPUT;
  GPIO_InitStruct.Pull = GPIO_NOPULL;
  HAL_GPIO_Init(VBUS_HS_GPIO_Port, &GPIO_InitStruct);

  /*Configure GPIO pins : D13_Pin D14_Pin D15_Pin D0_Pin
                           D1_Pin D2_Pin D3_Pin */
  GPIO_InitStruct.Pin = D13_Pin|D14_Pin|D15_Pin|D0_Pin
                          |D1_Pin|D2_Pin|D3_Pin;
  GPIO_InitStruct.Mode = GPIO_MODE_AF_PP;
  GPIO_InitStruct.Pull = GPIO_NOPULL;
  GPIO_InitStruct.Speed = GPIO_SPEED_FREQ_VERY_HIGH;
  GPIO_InitStruct.Alternate = GPIO_AF12_FMC;
  HAL_GPIO_Init(GPIOD, &GPIO_InitStruct);

  /*Configure GPIO pin : TE_Pin */
  GPIO_InitStruct.Pin = TE_Pin;
  GPIO_InitStruct.Mode = GPIO_MODE_INPUT;
  GPIO_InitStruct.Pull = GPIO_NOPULL;
  HAL_GPIO_Init(TE_GPIO_Port, &GPIO_InitStruct);

  /*Configure GPIO pins : RDX_Pin WRX_DCX_Pin */
  GPIO_InitStruct.Pin = RDX_Pin|WRX_DCX_Pin;
  GPIO_InitStruct.Mode = GPIO_MODE_OUTPUT_PP;
  GPIO_InitStruct.Pull = GPIO_NOPULL;
  GPIO_InitStruct.Speed = GPIO_SPEED_FREQ_LOW;
  HAL_GPIO_Init(GPIOD, &GPIO_InitStruct);

  /*Configure GPIO pins : R7_Pin DOTCLK_Pin B3_Pin */
  GPIO_InitStruct.Pin = R7_Pin|DOTCLK_Pin|B3_Pin;
  GPIO_InitStruct.Mode = GPIO_MODE_AF_PP;
  GPIO_InitStruct.Pull = GPIO_NOPULL;
  GPIO_InitStruct.Speed = GPIO_SPEED_FREQ_LOW;
  GPIO_InitStruct.Alternate = GPIO_AF14_LTDC;
  HAL_GPIO_Init(GPIOG, &GPIO_InitStruct);

  /*Configure GPIO pins : HSYNC_Pin G6_Pin R2_Pin */
  GPIO_InitStruct.Pin = HSYNC_Pin|G6_Pin|R2_Pin;
  GPIO_InitStruct.Mode = GPIO_MODE_AF_PP;
  GPIO_InitStruct.Pull = GPIO_NOPULL;
  GPIO_InitStruct.Speed = GPIO_SPEED_FREQ_LOW;
  GPIO_InitStruct.Alternate = GPIO_AF14_LTDC;
  HAL_GPIO_Init(GPIOC, &GPIO_InitStruct);

  /*Configure GPIO pin : I2C3_SDA_Pin */
  GPIO_InitStruct.Pin = I2C3_SDA_Pin;
  GPIO_InitStruct.Mode = GPIO_MODE_AF_OD;
  GPIO_InitStruct.Pull = GPIO_NOPULL;
  GPIO_InitStruct.Speed = GPIO_SPEED_FREQ_LOW;
  GPIO_InitStruct.Alternate = GPIO_AF4_I2C3;
  HAL_GPIO_Init(I2C3_SDA_GPIO_Port, &GPIO_InitStruct);

  /*Configure GPIO pin : I2C3_SCL_Pin */
  GPIO_InitStruct.Pin = I2C3_SCL_Pin;
  GPIO_InitStruct.Mode = GPIO_MODE_AF_OD;
  GPIO_InitStruct.Pull = GPIO_NOPULL;
  GPIO_InitStruct.Speed = GPIO_SPEED_FREQ_LOW;
  GPIO_InitStruct.Alternate = GPIO_AF4_I2C3;
  HAL_GPIO_Init(I2C3_SCL_GPIO_Port, &GPIO_InitStruct);

  /*Configure GPIO pins : STLINK_RX_Pin STLINK_TX_Pin */
  GPIO_InitStruct.Pin = STLINK_RX_Pin|STLINK_TX_Pin;
  GPIO_InitStruct.Mode = GPIO_MODE_AF_PP;
  GPIO_InitStruct.Pull = GPIO_NOPULL;
  GPIO_InitStruct.Speed = GPIO_SPEED_FREQ_VERY_HIGH;
  GPIO_InitStruct.Alternate = GPIO_AF7_USART1;
  HAL_GPIO_Init(GPIOA, &GPIO_InitStruct);

  /*Configure GPIO pins : G7_Pin B2_Pin */
  GPIO_InitStruct.Pin = G7_Pin|B2_Pin;
  GPIO_InitStruct.Mode = GPIO_MODE_AF_PP;
  GPIO_InitStruct.Pull = GPIO_NOPULL;
  GPIO_InitStruct.Speed = GPIO_SPEED_FREQ_LOW;
  GPIO_InitStruct.Alternate = GPIO_AF14_LTDC;
  HAL_GPIO_Init(GPIOD, &GPIO_InitStruct);

  /*Configure GPIO pin : G3_Pin */
  GPIO_InitStruct.Pin = G3_Pin;
  GPIO_InitStruct.Mode = GPIO_MODE_AF_PP;
  GPIO_InitStruct.Pull = GPIO_NOPULL;
  GPIO_InitStruct.Speed = GPIO_SPEED_FREQ_LOW;
  GPIO_InitStruct.Alternate = GPIO_AF9_LTDC;
  HAL_GPIO_Init(G3_GPIO_Port, &GPIO_InitStruct);

  /*Configure GPIO pins : LD2_Pin LD3_Pin LD4_Pin */
  GPIO_InitStruct.Pin = LD2_Pin|LD3_Pin|LD4_Pin;
  GPIO_InitStruct.Mode = GPIO_MODE_OUTPUT_PP;
  GPIO_InitStruct.Pull = GPIO_NOPULL;
  GPIO_InitStruct.Speed = GPIO_SPEED_FREQ_LOW;
  HAL_GPIO_Init(GPIOG, &GPIO_InitStruct);

  /*Configure GPIO pins : SDCKE1_Pin SDNE1_Pin */
  GPIO_InitStruct.Pin = SDCKE1_Pin|SDNE1_Pin;
  GPIO_InitStruct.Mode = GPIO_MODE_AF_PP;
  GPIO_InitStruct.Pull = GPIO_NOPULL;
  GPIO_InitStruct.Speed = GPIO_SPEED_FREQ_VERY_HIGH;
  GPIO_InitStruct.Alternate = GPIO_AF12_FMC;
  HAL_GPIO_Init(GPIOB, &GPIO_InitStruct);

}

/* USER CODE BEGIN 4 */

void Task1(void *argument)
{
  while(1)
  {
	  SEGGER_SYSVIEW_PrintfHost("hey there!\n");
	  GreenLed.On();
	  vTaskDelay(105/ portTICK_PERIOD_MS);
	  GreenLed.Off();
	  vTaskDelay(100/ portTICK_PERIOD_MS);
  }
}

void Task2( void* argument )
{
	while(1)
	{
		SEGGER_SYSVIEW_PrintfHost("task 2 says 'Hi!'\n");
		BlueLed.On();
		vTaskDelay(200 / portTICK_PERIOD_MS);
		BlueLed.Off();
		vTaskDelay(200 / portTICK_PERIOD_MS);
	}
}

void Task3( void* argument )
{
	while(1)
	{
		lookBusy();

		SEGGER_SYSVIEW_PrintfHost("task3\n");
		RedLed.On();
		vTaskDelay(500/ portTICK_PERIOD_MS);
		RedLed.Off();
		vTaskDelay(500/ portTICK_PERIOD_MS);
	}
}

void lookBusy( void )
{
	volatile uint32_t __attribute__((unused)) dontCare = 0;
	for(int i = 0; i < 50E3; i++)
	{
		dontCare = i % 4;
	}
	SEGGER_SYSVIEW_PrintfHost("looking busy\n");
}

/* USER CODE END 4 */

void HAL_TIM_PeriodElapsedCallback(TIM_HandleTypeDef *htim)
{
  if (htim->Instance == TIM6) {
    HAL_IncTick();
  }
}

void Error_Handler(void)
{
  __disable_irq();
  while (1)
  {
  }
}
